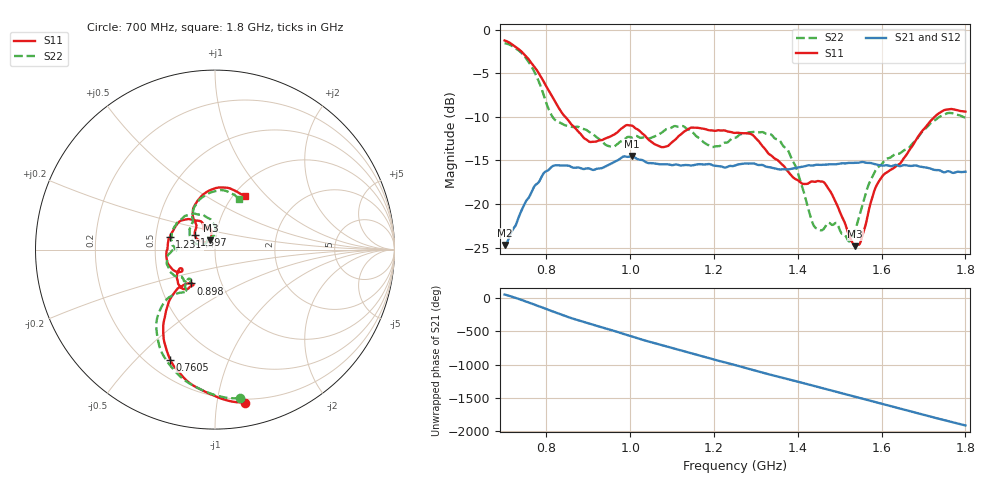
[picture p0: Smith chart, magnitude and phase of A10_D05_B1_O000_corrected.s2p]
! Created with skrf 1.9.0 (http://scikit-rf.org).
# Hz S RI R 50.0
!freq ReS11 ImS11 ReS21 ImS21 ReS12 ImS12 ReS22 ImS22
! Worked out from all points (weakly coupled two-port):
!   1601 points, 700 MHz to 1.8 GHz, reference 50 ohm
!   highest |S21| = -14.50 dB at 1.005 GHz (marker M1); lowest = -24.7 dB at 700 MHz (marker M2)
!   lowest |S11| = -24.8 dB at 1.537 GHz (marker M3), VSWR 1.12, Z = 47.3 + j4.85 ohm
!   |S11| at or under -10 dB: 844.9 MHz to 1.726 GHz (881.5 MHz wide, 68.6 % of centre)
!   |S22| runs from -24.3 to -1.5 dB; largest |S21 - S12| = 0.0036
!   S11 on the Smith chart (normalised r, x): 700 MHz: 0.17, -1.20; 760.5 MHz: 0.29, -0.63; 898 MHz: 0.71, -0.28; 1.231 GHz: 0.59, +0.09; 1.597 GHz: 0.79, +0.13; 1.8 GHz: 1.13, +0.75
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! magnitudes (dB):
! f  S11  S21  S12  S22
! 700 MHz  -1.2  -24.7  -24.5  -1.5
! 760.5 MHz  -3.6  -19.0  -18.9  -3.9
! 816.9 MHz  -7.9  -15.6  -15.7  -10.2
! 883.6 MHz  -12.1  -15.9  -15.8  -11.3
! 898 MHz  -12.7  -15.9  -16.0  -11.6
! 953.7 MHz  -12.2  -15.4  -15.4  -13.4
! 1.005 GHz  -11.0  -14.5  -14.6  -12.4
! 1.067 GHz  -13.3  -15.4  -15.4  -12.0
! 1.145 GHz  -11.2  -15.6  -15.6  -11.6
! 1.231 GHz  -11.6  -15.8  -15.7  -12.9
! 1.25 GHz  -11.8  -15.6  -15.5  -12.4
! 1.357 GHz  -15.2  -16.0  -16.0  -12.7
! 1.395 GHz  -17.2  -15.9  -15.9  -15.7
! 1.434 GHz  -17.4  -15.6  -15.5  -22.0
! 1.471 GHz  -18.1  -15.5  -15.5  -22.2
! 1.522 GHz  -23.6  -15.3  -15.3  -24.3
! 1.537 GHz  -24.8  -15.3  -15.3  -23.1
! 1.569 GHz  -20.8  -15.3  -15.3  -17.8
! 1.597 GHz  -17.2  -15.6  -15.5  -15.6
! 1.617 GHz  -16.2  -15.6  -15.6  -14.7
! 1.734 GHz  -9.7  -16.1  -16.2  -10.1
! 1.8 GHz  -9.4  -16.3  -16.3  -10.1
